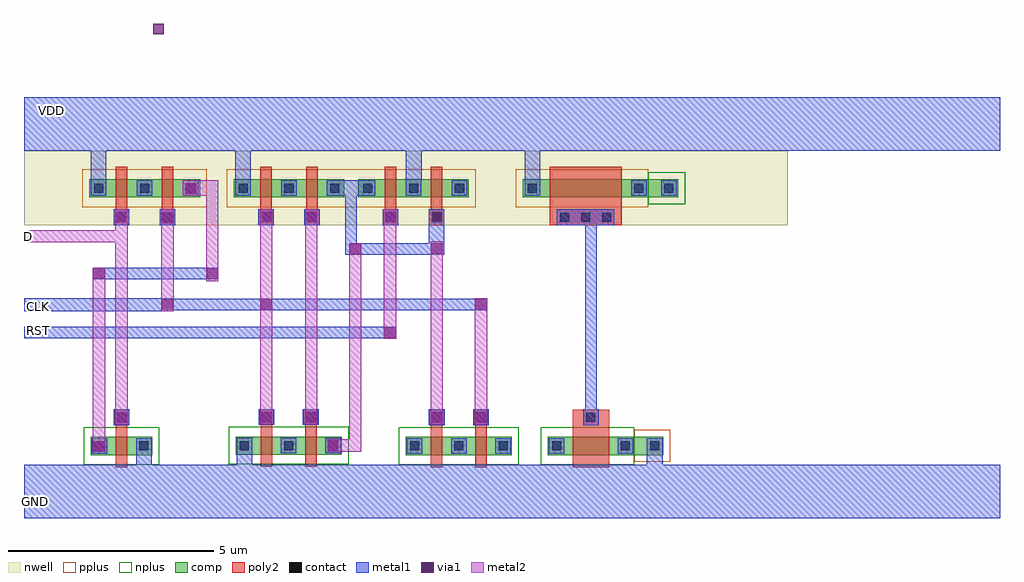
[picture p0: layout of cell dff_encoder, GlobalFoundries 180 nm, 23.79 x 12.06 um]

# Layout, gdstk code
import gdstk
lib = gdstk.Library(unit=1e-6, precision=5e-09)
def R(c, l, rs):  # rectangles x0, y0, x1, y1
    for r in rs: c.add(gdstk.rectangle(r[:2], r[2:], *l))
def A(c, l, x, y, w, h, nx, ny, dx, dy):  # array of equal rectangles
    R(c, l, [(x+i*dx, y+j*dy, x+i*dx+w, y+j*dy+h) for i in range(nx) for j in range(ny)])
nwell = (21, 0)
comp = (22, 0)
poly2 = (30, 0)
pplus = (31, 0)
nplus = (32, 0)
contact = (33, 0)
metal1 = (34, 0)
via1 = (35, 0)
metal2 = (36, 0)

pfet = lib.new_cell('pfet')
R(pfet, nwell, [(-0.9,-0.44,1.56,0.88)])
R(pfet, comp, [(-0.46,0,0,0.44), (0,0,0.66,0.44), (0.66,0,1.12,0.44)])
R(pfet, poly2, [(0.14,-0.68,0.52,-0.3), (0.19,-0.3,0.47,0.74)])
R(pfet, pplus, [(-0.63,-0.24,1.29,0.68)])
R(pfet, contact, [(0.22,-0.6,0.44,-0.38), (-0.34,0.11,-0.12,0.33), (0.78,0.11,1,0.33)])
R(pfet, metal1, [(0.14,-0.68,0.52,-0.3), (-0.42,0.03,-0.04,0.41), (0.7,0.03,1.08,0.41)])

pfet_3 = lib.new_cell('pfet$3')
R(pfet_3, nwell, [(-1.15,-0.69,4.02,1.13)])
R(pfet_3, comp, [(-0.46,0,0,0.44), (0,0,2.14,0.44), (2.14,0,2.6,0.44), (2.6,0,3.33,0.44)])
R(pfet_3, poly2, [(0.19,-0.68,1.95,-0.3), (0.19,-0.3,1.95,0.74)])
R(pfet_3, pplus, [(-0.63,-0.24,2.6,0.68)])
R(pfet_3, nplus, [(2.6,-0.17,3.5,0.61)])
A(pfet_3, contact, 0.45, -0.6, 0.22, 0.22, 3, 1, 0.51, 0)
R(pfet_3, contact, [(-0.34,0.11,-0.12,0.33), (2.26,0.11,2.48,0.33), (2.99,0.11,3.21,0.33)])
R(pfet_3, metal1, [(0.37,-0.68,1.77,-0.3), (-0.42,0.03,-0.04,0.41), (2.18,0.03,2.56,0.41), (2.91,0.03,3.29,0.41)])

nfet_2 = lib.new_cell('nfet$2')
R(nfet_2, comp, [(-0.42,0,0,0.44), (0,0,1.26,0.44), (1.26,0,1.68,0.44), (1.68,0,2.39,0.44)])
R(nfet_2, poly2, [(0.19,-0.3,1.07,0.74), (0.19,0.74,1.07,1.1)])
R(nfet_2, pplus, [(1.68,-0.17,2.56,0.61)])
R(nfet_2, nplus, [(-0.59,-0.24,1.68,0.68)])
R(nfet_2, contact, [(-0.32,0.11,-0.1,0.33), (1.36,0.11,1.58,0.33), (2.07,0.11,2.29,0.33), (0.52,0.81,0.74,1.03)])
R(nfet_2, metal1, [(-0.4,0.03,-0.02,0.41), (1.28,0.03,1.66,0.41), (1.99,0.03,2.37,0.41), (0.44,0.73,0.82,1.11)])

nfet_1 = lib.new_cell('nfet$1')
R(nfet_1, comp, [(-0.42,0,0,0.44), (0,0,0.66,0.44), (0.66,0,1.08,0.44)])
R(nfet_1, poly2, [(0.19,-0.3,0.47,0.74), (0.15,0.74,0.51,1.1)])
R(nfet_1, nplus, [(-0.59,-0.24,1.25,0.68)])
R(nfet_1, contact, [(-0.32,0.11,-0.1,0.33), (0.76,0.11,0.98,0.33), (0.22,0.81,0.44,1.03)])
R(nfet_1, metal1, [(-0.4,0.03,-0.02,0.41), (0.68,0.03,1.06,0.41), (0.14,0.73,0.52,1.11)])

dff_encoder = lib.new_cell('dff_encoder')
R(dff_encoder, nwell, [(1.465,7.17,20.08,8.99)])
R(dff_encoder, metal1, [(1.465,0.03,25.25,1.335), (16.64,1.335,17.025,1.985), (1.46,5.075,5.11,5.395), (11.325,6.56,11.705,7.18), (8.845,7.89,10.025,8.27), (1.465,8.99,25.25,10.295)])
R(dff_encoder, via1, [(3.155,1.655,3.415,1.915), (8.86,1.675,9.12,1.935), (3.715,2.36,3.975,2.62), (7.235,2.365,7.495,2.625), (8.32,2.365,8.58,2.625), (11.385,2.365,11.645,2.625), (12.47,2.365,12.73,2.625), (10.255,4.435,10.515,4.695), (4.83,5.11,5.09,5.37), (12.47,5.115,12.73,5.375), (7.23,5.12,7.49,5.38), (5.925,5.865,6.185,6.125), (3.155,5.87,3.415,6.13), (9.405,6.47,9.665,6.73), (11.395,6.48,11.655,6.74), (4.825,7.23,5.085,7.49), (3.695,7.245,3.955,7.505), (7.255,7.25,7.515,7.51), (8.35,7.25,8.61,7.51), (10.27,7.25,10.53,7.51), (11.395,7.25,11.655,7.51), (5.395,7.945,5.655,8.205), (4.61,11.83,4.87,12.09)])
R(dff_encoder, metal2, [(5.33,7.89,6.2,8.27)])
dff_encoder.add(gdstk.FlexPath([(3.28,8.27),(3.28,8.99)], 0.38, ends="flush", simple_path=True, layer=34, datatype=0))  # metal1
dff_encoder.add(gdstk.FlexPath([(6.83,1.615),(6.83,1.33)], 0.38, ends="flush", simple_path=True, layer=34, datatype=0))  # metal1
dff_encoder.add(gdstk.FlexPath([(6.8,8.27),(6.8,8.99)], 0.38, ends="flush", simple_path=True, layer=34, datatype=0))  # metal1
dff_encoder.add(gdstk.FlexPath([(13.85,8.27),(13.85,8.99)], 0.38, ends="flush", simple_path=True, layer=34, datatype=0))  # metal1
dff_encoder.add(gdstk.FlexPath([(15.28,2.685),(15.28,7.18)], 0.28, ends="flush", simple_path=True, layer=34, datatype=0))  # metal1
dff_encoder.add(gdstk.FlexPath([(4.83,5.24),(12.73,5.24)], 0.28, ends="flush", simple_path=True, layer=34, datatype=0))  # metal1
dff_encoder.add(gdstk.FlexPath([(4.38,1.605),(4.38,1.335)], 0.38, ends="flush", simple_path=True, layer=34, datatype=0))  # metal1
dff_encoder.add(gdstk.FlexPath([(6.185,5.995),(3.135,5.995)], 0.28, ends="flush", simple_path=True, layer=34, datatype=0))  # metal1
dff_encoder.add(gdstk.FlexPath([(10.53,4.565),(1.465,4.565)], 0.28, ends="flush", simple_path=True, layer=34, datatype=0))  # metal1
dff_encoder.add(gdstk.FlexPath([(10.96,8.27),(10.96,8.99),(10.96,8.99),(10.96,8.99)], 0.38, ends="flush", simple_path=True, layer=34, datatype=0))  # metal1
dff_encoder.add(gdstk.FlexPath([(9.435,7.89),(9.435,6.595),(11.705,6.595)], 0.28, ends="flush", simple_path=True, layer=34, datatype=0))  # metal1
dff_encoder.add(gdstk.FlexPath([(6.05,8.27),(6.05,5.805)], 0.3, ends="flush", simple_path=True, layer=36, datatype=0))  # metal2
dff_encoder.add(gdstk.FlexPath([(3.84,7.56),(3.84,2.315)], 0.3, ends="flush", simple_path=True, layer=36, datatype=0))  # metal2
dff_encoder.add(gdstk.FlexPath([(3.84,6.905),(1.465,6.905)], 0.3, ends="flush", simple_path=True, layer=36, datatype=0))  # metal2
dff_encoder.add(gdstk.FlexPath([(3.285,1.655),(3.285,6.135)], 0.3, ends="flush", simple_path=True, layer=36, datatype=0))  # metal2
dff_encoder.add(gdstk.FlexPath([(4.96,7.56),(4.96,5.075)], 0.3, ends="flush", simple_path=True, layer=36, datatype=0))  # metal2
dff_encoder.add(gdstk.FlexPath([(7.365,5.39),(7.365,2.33)], 0.3, ends="flush", simple_path=True, layer=36, datatype=0))  # metal2
dff_encoder.add(gdstk.FlexPath([(8.46,5.39),(8.46,2.33)], 0.3, ends="flush", simple_path=True, layer=36, datatype=0))  # metal2
dff_encoder.add(gdstk.FlexPath([(8.46,5.39),(8.46,7.56),(8.46,7.56)], 0.3, ends="flush", simple_path=True, layer=36, datatype=0))  # metal2
dff_encoder.add(gdstk.FlexPath([(7.365,5.39),(7.365,7.56),(7.365,7.56)], 0.3, ends="flush", simple_path=True, layer=36, datatype=0))  # metal2
dff_encoder.add(gdstk.FlexPath([(10.38,4.405),(10.38,7.56)], 0.3, ends="flush", simple_path=True, layer=36, datatype=0))  # metal2
dff_encoder.add(gdstk.FlexPath([(9.535,6.735),(9.535,1.655)], 0.3, ends="flush", simple_path=True, layer=36, datatype=0))  # metal2
dff_encoder.add(gdstk.FlexPath([(8.86,1.805),(9.685,1.805)], 0.3, ends="flush", simple_path=True, layer=36, datatype=0))  # metal2
dff_encoder.add(gdstk.FlexPath([(12.6,5.39),(12.6,2.33)], 0.3, ends="flush", simple_path=True, layer=36, datatype=0))  # metal2
dff_encoder.add(gdstk.FlexPath([(11.52,5.39),(11.52,2.33)], 0.3, ends="flush", simple_path=True, layer=36, datatype=0))  # metal2
dff_encoder.add(gdstk.FlexPath([(11.52,5.39),(11.52,6.78)], 0.3, ends="flush", simple_path=True, layer=36, datatype=0))  # metal2
dff_encoder.add(gdstk.Reference(pfet, (4.63,7.86)))
dff_encoder.add(gdstk.Reference(pfet, (7.03,7.86)))
dff_encoder.add(gdstk.Reference(pfet_3, (14.08,7.86)))
dff_encoder.add(gdstk.Reference(pfet, (3.51,7.86)))
dff_encoder.add(gdstk.Reference(nfet_2, (14.65,1.575)))
dff_encoder.add(gdstk.Reference(nfet_1, (3.51,1.575)))
dff_encoder.add(gdstk.Reference(nfet_1, (8.12,1.585)))
dff_encoder.add(gdstk.Reference(nfet_1, (7.04,1.585)))
dff_encoder.add(gdstk.Reference(pfet, (8.145,7.86)))
dff_encoder.add(gdstk.Reference(pfet, (10.065,7.86)))
dff_encoder.add(gdstk.Reference(pfet, (11.185,7.86)))
dff_encoder.add(gdstk.Reference(nfet_1, (11.19,1.575)))
dff_encoder.add(gdstk.Reference(nfet_1, (12.27,1.575)))
dff_encoder.add(gdstk.Label('VDD', (2.135,9.98), layer=34, texttype=10))
dff_encoder.add(gdstk.Label('GND', (1.745,0.435), layer=34, texttype=10))
dff_encoder.add(gdstk.Label('CLK', (1.815,5.205), layer=34, texttype=10))
dff_encoder.add(gdstk.Label('RST', (1.815,4.615), layer=34, texttype=10))
dff_encoder.add(gdstk.Label('D', (1.575,6.905), layer=36, texttype=10))

lib.write_gds('dff_encoder.gds')
